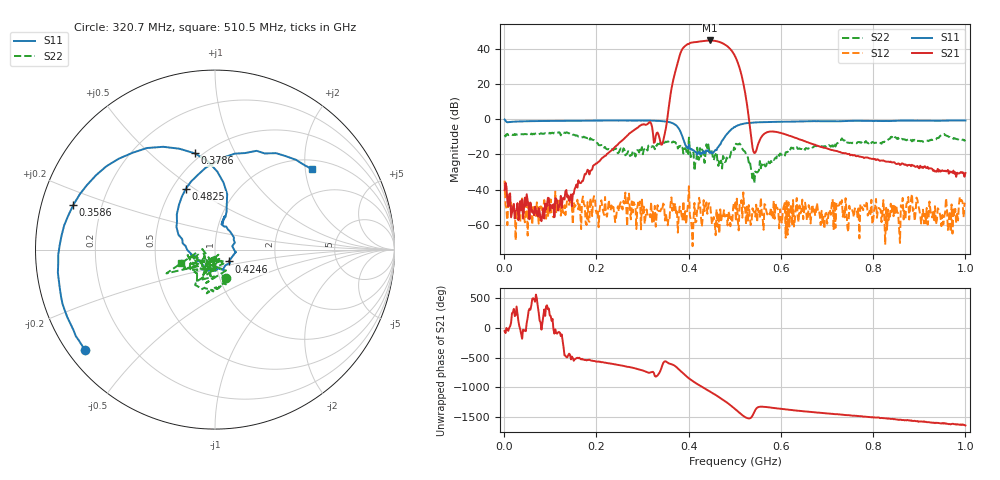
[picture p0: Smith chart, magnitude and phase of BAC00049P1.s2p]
!measured: 2026-10-27T15:25:31
!cal_instance: BBtestOct27
!cal_created: 2026-10-27T14:45
!cal_file: BBtesting.cal
!port1_delay_ps: -58.63
!port2_delay_ps: -59.31
!host: dhcp-10-250-247-203.harvard.edu
! Created with skrf 2.1.0 (http://scikit-rf.org).
# Hz S RI R 50.0
!freq ReS11 ImS11 ReS21 ImS21 ReS12 ImS12 ReS22 ImS22
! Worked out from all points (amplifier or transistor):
!   501 points, 1 MHz to 1 GHz, reference 50 ohm
!   highest |S21| = 44.8 dB at 446.6 MHz (marker M1)
!   |S21| within 3 dB of that: 393 MHz to 482.4 MHz (89.37 MHz wide, 20.4 % of centre)
!   unconditionally stable (mu >= 1): start of sweep to 399.7 MHz; 401.2 MHz to 422.4 MHz; 423.3 MHz to end of sweep
!   at 166.8 MHz: K = 6681.11, MAG = -28.2 dB, |S12| = -62.4 dB
!   at 500.5 MHz: K = 1.23, MAG = 38.6 dB, |S12| = -47.1 dB
!   at 1 GHz: K = 550.39, MAG = -21.9 dB, |S12| = -47.6 dB
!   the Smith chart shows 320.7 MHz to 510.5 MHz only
!   S11 on the Smith chart (normalised r, x): 320.7 MHz: 0.05, -0.34; 358.6 MHz: 0.10, +0.15; 378.6 MHz: 0.46, +0.70; 424.6 MHz: 1.15, -0.15; 482.5 MHz: 0.59, +0.46; 510.5 MHz: 1.24, +2.19
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1000000  -0.3562 0.919  0.0056 -0.00782  -0.0177 -0.00335  0.3548 -0.0485
1.68832e8  0.4999 -0.7617  -0.0165 -0.00579  0.00435 0.00168  -0.0167 -0.3093
3.2068e8  -0.724 -0.5621  0.5713 -0.2186  0.000645 0.00103  0.0601 -0.1604
3.34666e8  -0.8351 -0.3442  0.1983 -0.3131  0.000149 -0.00246  0.0462 -0.1897
3.58642e8  -0.7894 0.2487  -1.571 2.892  -0.000433 -0.00148  -0.0457 -0.2438
3.78622e8  -0.1129 0.5364  48.84 20.82  -0.00136 0.0014  -0.1285 -0.1143
3.88612e8  0.0655 0.2552  73.8 -80.25  0.00471 0.000302  -0.0966 -0.045
3.98602e8  0.041 0.1417  -62.64 -124.8  -0.00397 0.00025  -0.1006 -0.0153
4.1059e8  0.0844 0.1009  -154.8 8.652  0.00139 0.000461  -0.0677 -0.0945
4.24576e8  0.0766 -0.0657  -54.04 154.4  -0.00249 -0.00337  -0.0244 -0.1493
4.34566e8  0.0169 -0.1053  74.55 152.6  -0.000678 0.00235  -0.0162 -0.0552
4.46554e8  -0.0933 -0.0587  172.4 27.55  -0.000804 -0.00378  -0.1145 -0.0508
4.54546e8  -0.1127 -0.0359  150.8 -81.55  0.000589 -0.00155  -0.0573 -0.0376
4.64536e8  -0.1637 0.0195  36.07 -157  0.00111 -0.0019  0.00646 -0.0468
4.74526e8  -0.2119 0.157  -87.99 -112.8  -0.00108 -0.00114  -0.001 -0.0912
4.82518e8  -0.1631 0.3377  -121.9 -18.09  0.000436 0.00186  0.0518 -0.0629
4.92508e8  0.0499 0.514  -58.58 71.2  0.000745 0.00149  -0.0487 -0.111
5.005e8  0.2773 0.5358  13.12 60.9  0.000131 -0.00443  -0.1016 -0.0976
5.1049e8  0.5429 0.4468  28.06 5.569  -0.00322 -0.00178  -0.1903 -0.0772
6.68332e8  0.0572 -0.8815  0.1785 0.0836  -0.00355 0.00132  0.0345 -0.1542
8.34166e8  -0.6036 -0.6622  0.00737 -0.0619  0.0013 0.000438  -0.1577 -0.2252
1e9  -0.894 -0.2315  -0.0282 0.00964  0.00406 -0.00101  -0.2206 -0.14
